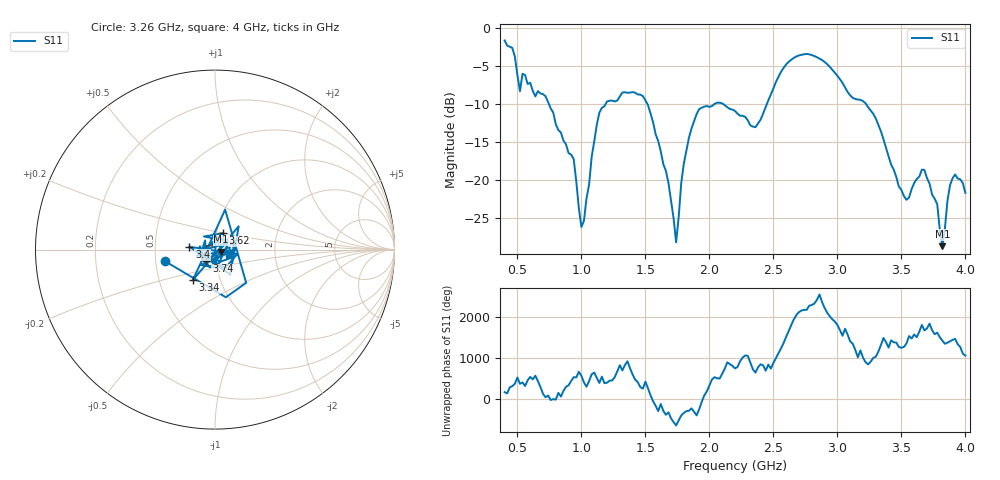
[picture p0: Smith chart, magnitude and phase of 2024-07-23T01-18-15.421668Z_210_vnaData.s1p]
!Created with skrf (http://scikit-rf.org).
# Hz S RI R 50.0
!freq ReS11 ImS11
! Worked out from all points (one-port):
!   181 points, 400 MHz to 4 GHz, reference 50 ohm
!   lowest |S11| = -28.7 dB at 3.82 GHz (marker M1), VSWR 1.08, Z = 53.6 - j1.32 ohm
!   |S11| at or under -10 dB: 745.7 MHz to 1.19 GHz (444 MHz wide, 45.9 % of centre); 1.515 GHz to 2.04 GHz (524.4 MHz wide, 29.5 % of centre); 3.223 GHz to end of sweep (the widest 3 of 4)
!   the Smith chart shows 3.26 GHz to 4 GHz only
!   S11 on the Smith chart (normalised r, x): 3.26 GHz: 0.56, -0.08; 3.34 GHz: 0.74, -0.26; 3.4 GHz: 0.75, +0.02; 3.62 GHz: 1.07, +0.20; 3.74 GHz: 0.90, -0.12; 4 GHz: 1.16, -0.07
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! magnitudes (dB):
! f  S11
! 400 MHz  -1.7
! 460 MHz  -2.6
! 520 MHz  -8.3
! 720 MHz  -9.0
! 860 MHz  -14.8
! 940 MHz  -17.3
! 1 GHz  -26.2
! 1.14 GHz  -11.2
! 1.3 GHz  -9.0
! 1.52 GHz  -10.1
! 1.68 GHz  -20.4
! 1.74 GHz  -28.2
! 1.76 GHz  -24.8
! 1.8 GHz  -17.8
! 1.92 GHz  -10.7
! 2.2 GHz  -10.9
! 2.36 GHz  -13.0
! 2.66 GHz  -4.0
! 3.1 GHz  -8.9
! 3.26 GHz  -10.9
! 3.34 GHz  -13.6
! 3.4 GHz  -16.9
! 3.56 GHz  -22.3
! 3.62 GHz  -19.9
! 3.74 GHz  -21.9
! 3.82 GHz  -28.7
! 3.9 GHz  -19.8
! 4 GHz  -21.7
